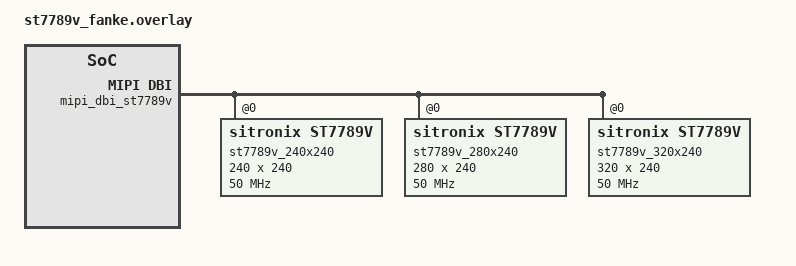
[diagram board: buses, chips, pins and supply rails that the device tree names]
/*
 * Copyright (c) 2025 Honbo He <hehongbo918@gmail.com>
 *
 * SPDX-License-Identifier: Apache-2.0
 */

#include <zephyr/dt-bindings/mipi_dbi/mipi_dbi.h>

/ {
	mipi_dbi_st7789v {
		compatible = "zephyr,mipi-dbi-spi";
		#address-cells = <1>;
		#size-cells = <0>;

		st7789v_240x240: st7789v@0 {
			compatible = "sitronix,st7789v";
			mipi-max-frequency = <50000000>;
			reg = <0>;
			width = <240>;
			height = <240>;
			x-offset = <0>;
			y-offset = <0>;
			vcom = <0x19>;
			gctrl = <0x35>;
			vrhs = <0x12>;
			vdvs = <0x20>;
			mdac = <0x00>;   /* vertical display */
			gamma = <0x01>;
			colmod = <0x05>;
			lcm = <0x2c>;
			porch-param = [0c 0c 00 33 33];
			cmd2en-param = [5a 69 02 01];
			pwctrl1-param = [a4 a1];
			pvgam-param = [D0 04 0D 11 13 2B 3F 54 4C 18 0D 0B 1F 23];
			nvgam-param = [D0 04 0C 11 13 2C 3F 44 51 2F 1F 1F 20 23];
			ram-param = [00 F0];
			rgb-param = [CD 08 14];
			mipi-mode = "MIPI_DBI_MODE_SPI_4WIRE";
		};

		st7789v_280x240: st7789v@1 {
			compatible = "sitronix,st7789v";
			mipi-max-frequency = <50000000>;
			reg = <0>;
			width = <280>;
			height = <240>;
			x-offset = <0>;
			y-offset = <0>;
			vcom = <0x19>;
			gctrl = <0x35>;
			vrhs = <0x12>;
			vdvs = <0x20>;
			mdac = <0x60>;
			gamma = <0x01>;
			colmod = <0x05>;
			lcm = <0x2c>;
			porch-param = [0c 0c 00 33 33];
			cmd2en-param = [5a 69 02 01];
			pwctrl1-param = [a4 a1];
			pvgam-param = [D0 04 0D 11 13 2B 3F 54 4C 18 0D 0B 1F 23];
			nvgam-param = [D0 04 0C 11 13 2C 3F 44 51 2F 1F 1F 20 23];
			ram-param = [00 F0];
			rgb-param = [CD 08 14];
			mipi-mode = "MIPI_DBI_MODE_SPI_4WIRE";
		};

		st7789v_320x240: st7789v@2 {
			compatible = "sitronix,st7789v";
			mipi-max-frequency = <50000000>;
			reg = <0>;
			width = <320>;
			height = <240>;
			x-offset = <0>;
			y-offset = <0>;
			vcom = <0x19>;
			gctrl = <0x35>;
			vrhs = <0x12>;
			vdvs = <0x20>;
			mdac = <0x60>;   /* horizontal display */
			gamma = <0x01>;
			colmod = <0x05>;
			lcm = <0x2c>;
			porch-param = [0c 0c 00 33 33];
			cmd2en-param = [5a 69 02 01];
			pwctrl1-param = [a4 a1];
			pvgam-param = [D0 04 0D 11 13 2B 3F 54 4C 18 0D 0B 1F 23];
			nvgam-param = [D0 04 0C 11 13 2C 3F 44 51 2F 1F 1F 20 23];
			ram-param = [00 F0];
			rgb-param = [CD 08 14];
			mipi-mode = "MIPI_DBI_MODE_SPI_4WIRE";
		};
	};
};
